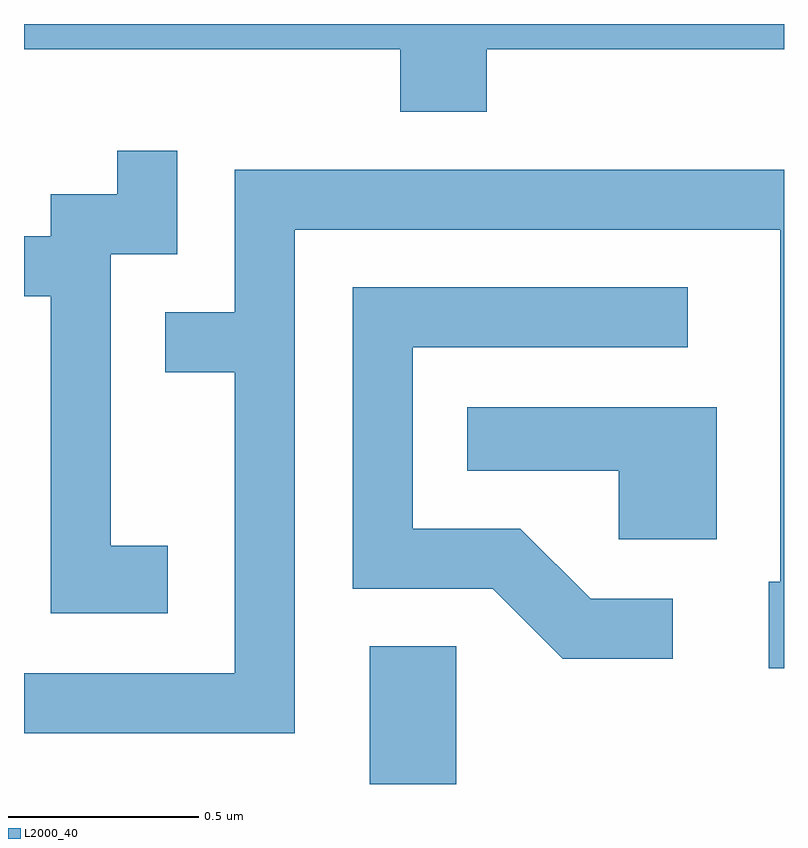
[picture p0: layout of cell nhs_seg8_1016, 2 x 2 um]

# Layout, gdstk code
import gdstk
lib = gdstk.Library(unit=1e-6, precision=1e-09)
def R(c, l, rs):  # rectangles x0, y0, x1, y1
    for r in rs: c.add(gdstk.rectangle(r[:2], r[2:], *l))
def P(c, l, *ps):  # polygons
    for p in ps: c.add(gdstk.Polygon(p, *l))
L2000_40 = (2000, 40)

nhs_seg8_1016 = lib.new_cell('nhs_seg8_1016')
R(nhs_seg8_1016, L2000_40, [(193.521,1863.342,193.749,1863.704)])
P(nhs_seg8_1016, L2000_40, [(193.829,1865.276),(194.611,1865.276),(194.611,1865.342),(192.611,1865.342),(192.611,1865.276),(193.601,1865.276),(193.601,1865.111),(193.829,1865.111)],
  [(192.989,1863.969),(192.839,1863.969),(192.839,1864.736),(193.014,1864.736),(193.014,1865.008),(192.856,1865.008),(192.856,1864.894),(192.681,1864.894),(192.681,1864.784),(192.611,1864.784),(192.611,1864.626),(192.681,1864.626),(192.681,1863.791),(192.989,1863.791)],
  [(193.324,1864.801),(194.601,1864.801),(194.601,1863.874),(194.571,1863.874),(194.571,1863.646),(194.611,1863.646),(194.611,1864.959),(193.166,1864.959),(193.166,1864.584),(192.983,1864.584),(192.983,1864.426),(193.166,1864.426),(193.166,1863.634),(192.611,1863.634),(192.611,1863.476),(193.324,1863.476)],
  [(194.318,1863.829),(194.102,1863.829),(193.917,1864.014),(193.634,1864.014),(193.634,1864.491),(194.358,1864.491),(194.358,1864.649),(193.476,1864.649),(193.476,1863.856),(193.844,1863.856),(194.029,1863.671),(194.318,1863.671)],
  [(194.434,1864.334),(193.778,1864.334),(193.778,1864.166),(194.176,1864.166),(194.176,1863.986),(194.434,1863.986)])

lib.write_gds('nhs_seg8_1016.gds')
